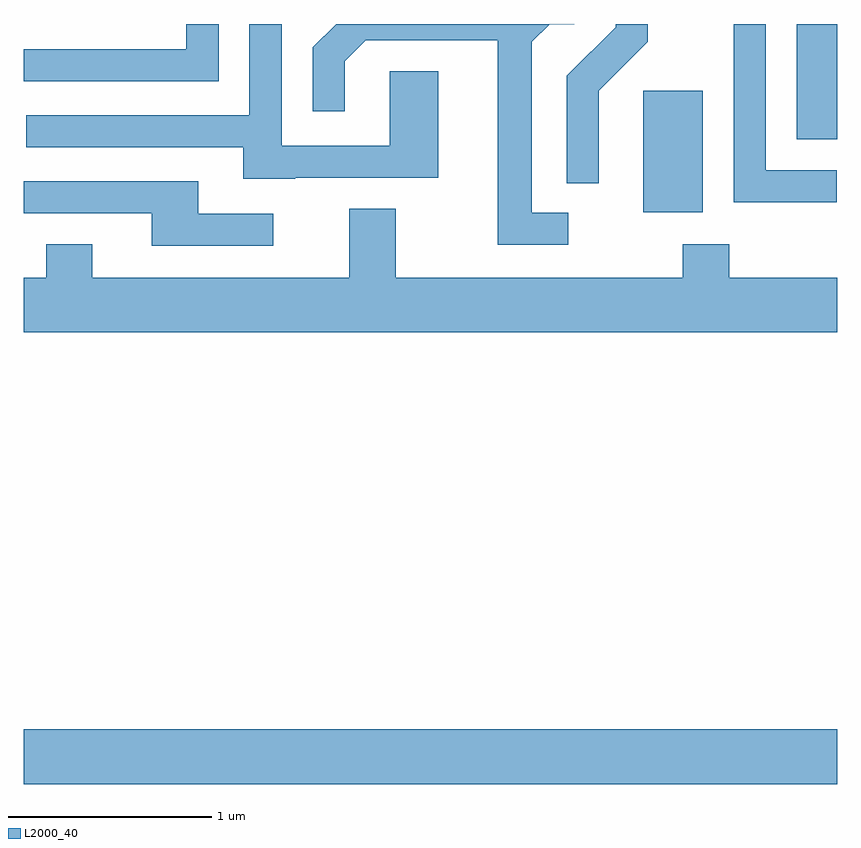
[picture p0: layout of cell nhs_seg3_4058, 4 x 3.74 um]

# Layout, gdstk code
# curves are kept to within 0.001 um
import gdstk
lib = gdstk.Library(unit=1e-6, precision=1e-09)
def R(c, l, rs):  # rectangles x0, y0, x1, y1
    for r in rs: c.add(gdstk.rectangle(r[:2], r[2:], *l))
def P(c, l, *ps):  # polygons
    for p in ps: c.add(gdstk.Polygon(p, *l))
L2000_40 = (2000, 40)

nhs_seg3_4058 = lib.new_cell('nhs_seg3_4058')
R(nhs_seg3_4058, L2000_40, [(303.611,1208.156,307.611,1208.424), (306.656,1210.966,306.949,1211.564), (307.411,1211.326,307.611,1211.892)])
P(nhs_seg3_4058, L2000_40, [(306.288,1210.964),(306.109,1210.964),(306.109,1211.804),(306.197,1211.891),(306.318,1211.892),(305.147,1211.892),(305.031,1211.777),(305.031,1211.463),(305.189,1211.463),(305.189,1211.709),(305.292,1211.811),(305.941,1211.811),(305.941,1210.806),(306.288,1210.806)],
  [(304.945,1211.136),(305.649,1211.136),(305.649,1211.659),(305.411,1211.659),(305.411,1211.294),(304.879,1211.294),(304.879,1211.892),(304.721,1211.892),(304.721,1211.444),(303.623,1211.444),(303.623,1211.286),(304.691,1211.286),(304.691,1211.131),(304.945,1211.131)],
  [(304.569,1211.892),(304.411,1211.892),(304.411,1211.769),(303.611,1211.769),(303.611,1211.611),(304.569,1211.611)],
  [(306.439,1211.564),(306.679,1211.804),(306.679,1211.892),(306.521,1211.892),(306.521,1211.877),(306.281,1211.637),(306.281,1211.108),(306.439,1211.108)],
  [(307.608,1211.174),(307.259,1211.174),(307.259,1211.892),(307.101,1211.892),(307.101,1211.016),(307.608,1211.016)],
  [(304.838,1210.959),(304.469,1210.959),(304.469,1211.119),(303.611,1211.119),(303.611,1210.961),(304.241,1210.961),(304.241,1210.801),(304.838,1210.801)],
  [(307.611,1210.644),(307.079,1210.644),(307.079,1210.809),(306.851,1210.809),(306.851,1210.644),(305.439,1210.644),(305.439,1210.984),(305.211,1210.984),(305.211,1210.644),(303.949,1210.644),(303.949,1210.809),(303.721,1210.809),(303.721,1210.644),(303.611,1210.644),(303.611,1210.376),(307.611,1210.376)])

lib.write_gds('nhs_seg3_4058.gds')
